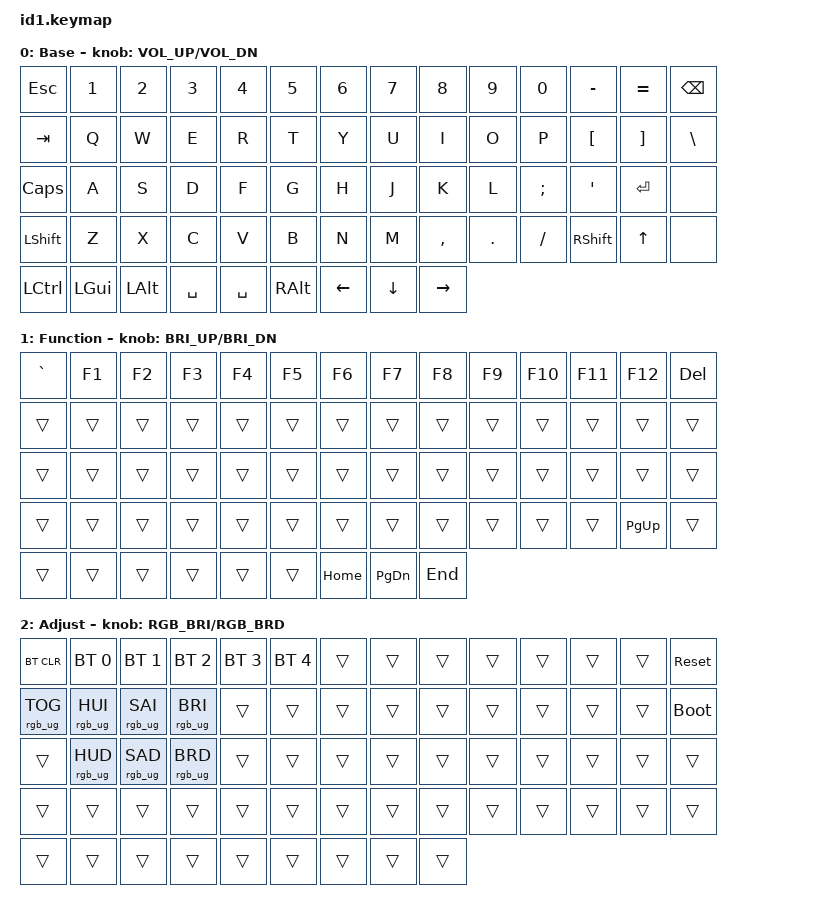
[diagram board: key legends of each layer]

#include <behaviors.dtsi>
#include <dt-bindings/zmk/keys.h>
#include <dt-bindings/zmk/bt.h>
#include <dt-bindings/zmk/rgb.h>

/ {
    // Encoder configuration
    sensors: sensors {
        compatible = "zmk,keymap-sensors";
        sensors = <&encoder>;
        triggers-per-rotation = <20>;
    };

    keymap {
        compatible = "zmk,keymap";

        // Main layer (64 keys)
        default_layer {
            label = "Base";
            
           //may need to work here
            sensor-bindings = <&inc_dec_kp C_VOL_UP C_VOL_DN>;
            
            bindings = <
                // Row 0 (14 keys) - Top number row
                &kp ESC   &kp N1    &kp N2    &kp N3    &kp N4    &kp N5    &kp N6    &kp N7    &kp N8    &kp N9    &kp N0    &kp MINUS &kp EQUAL &kp BSPC
                
                // Row 1 (14 keys) - QWERTY row
                &kp TAB   &kp Q     &kp W     &kp E     &kp R     &kp T     &kp Y     &kp U     &kp I     &kp O     &kp P     &kp LBKT  &kp RBKT  &kp BSLH
                
                // Row 2 (14 keys) - ASDF row  
                &kp CAPS  &kp A     &kp S     &kp D     &kp F     &kp G     &kp H     &kp J     &kp K     &kp L     &kp SEMI  &kp SQT   &kp ENTER &none
                
                // Row 3 (14 keys) - ZXCV row
                &kp LSHFT &kp Z     &kp X     &kp C     &kp V     &kp B     &kp N     &kp M     &kp COMMA &kp DOT   &kp FSLH  &kp RSHFT &kp UP    &none
                
                // Row 4 (8 keys) - Bottom row
                &kp LCTRL &kp LGUI  &kp LALT  &kp SPACE &kp SPACE &kp RALT  &kp LEFT  &kp DOWN  &kp RIGHT
            >;
        };

        // Function layer
        fn_layer {
            label = "Function";
            
            sensor-bindings = <&inc_dec_kp C_BRI_UP C_BRI_DN>;
            
            bindings = <
                // Function keys and media controls
                &kp GRAVE &kp F1    &kp F2    &kp F3    &kp F4    &kp F5    &kp F6    &kp F7    &kp F8    &kp F9    &kp F10   &kp F11   &kp F12   &kp DEL
                &trans    &trans    &trans    &trans    &trans    &trans    &trans    &trans    &trans    &trans    &trans    &trans    &trans    &trans
                &trans    &trans    &trans    &trans    &trans    &trans    &trans    &trans    &trans    &trans    &trans    &trans    &trans    &trans
                &trans    &trans    &trans    &trans    &trans    &trans    &trans    &trans    &trans    &trans    &trans    &trans    &kp PG_UP &trans
                &trans    &trans    &trans    &trans    &trans    &trans    &kp HOME  &kp PG_DN &kp END
            >;
        };

        // RGB and Bluetooth control layer
        adjust_layer {
            label = "Adjust";
            
            sensor-bindings = <&inc_dec_kp RGB_BRI RGB_BRD>;
            
            bindings = <
                &bt BT_CLR &bt BT_SEL 0 &bt BT_SEL 1 &bt BT_SEL 2 &bt BT_SEL 3 &bt BT_SEL 4 &trans &trans &trans &trans &trans &trans &trans &sys_reset
                &rgb_ug RGB_TOG &rgb_ug RGB_HUI &rgb_ug RGB_SAI &rgb_ug RGB_BRI &trans &trans &trans &trans &trans &trans &trans &trans &trans &bootloader
                &trans &rgb_ug RGB_HUD &rgb_ug RGB_SAD &rgb_ug RGB_BRD &trans &trans &trans &trans &trans &trans &trans &trans &trans &trans
                &trans &trans &trans &trans &trans &trans &trans &trans &trans &trans &trans &trans &trans &trans
                &trans &trans &trans &trans &trans &trans &trans &trans &trans
            >;
        };
    };
};
